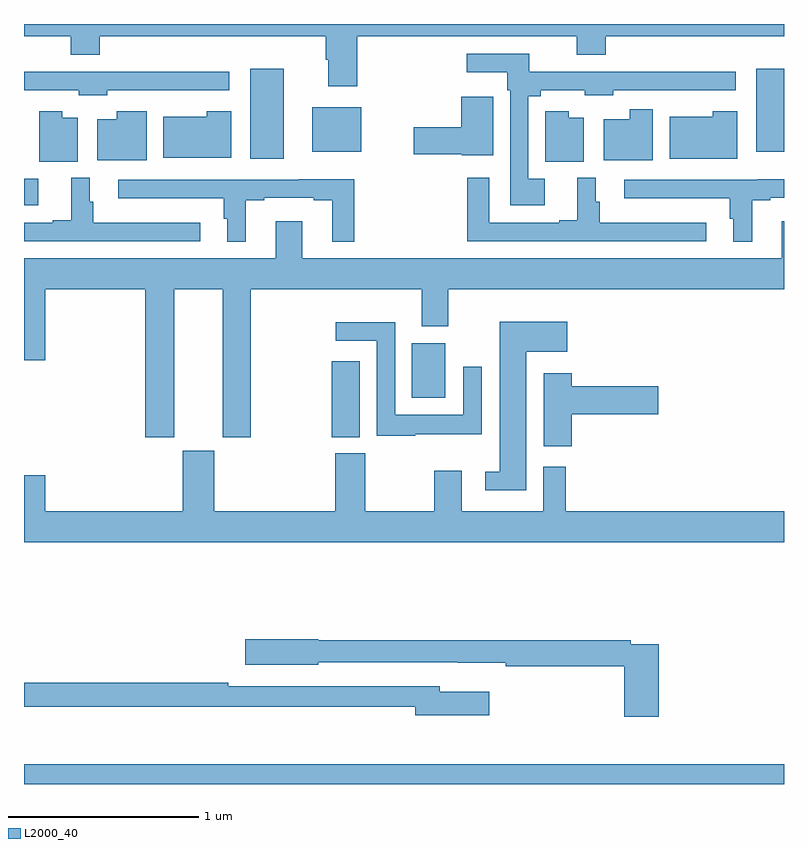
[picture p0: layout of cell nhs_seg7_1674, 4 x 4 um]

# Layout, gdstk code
import gdstk
lib = gdstk.Library(unit=1e-6, precision=1e-09)
def R(c, l, rs):  # rectangles x0, y0, x1, y1
    for r in rs: c.add(gdstk.rectangle(r[:2], r[2:], *l))
def P(c, l, *ps):  # polygons
    for p in ps: c.add(gdstk.Polygon(p, *l))
L2000_40 = (2000, 40)

nhs_seg7_1674 = lib.new_cell('nhs_seg7_1674')
R(nhs_seg7_1674, L2000_40, [(225,1010,229,1010.104), (226.621,1011.826,226.768,1012.225), (227.042,1012.034,227.218,1012.321), (225,1013.045,225.076,1013.185), (226.19,1013.291,226.366,1013.764), (226.517,1013.327,226.774,1013.563), (228.854,1013.327,229,1013.764)])
P(nhs_seg7_1674, L2000_40, [(225,1013.936),(225.245,1013.936),(225.245,1013.837),(225.398,1013.837),(225.398,1013.936),(226.589,1013.936),(226.589,1013.813),(226.601,1013.813),(226.601,1013.673),(226.754,1013.673),(226.754,1013.936),(227.909,1013.936),(227.909,1013.837),(228.062,1013.837),(228.062,1013.936),(229,1013.936),(229,1014),(225,1014)],
  [(227.74,1013.185),(227.655,1013.185),(227.655,1013.62),(227.721,1013.62),(227.721,1013.652),(227.952,1013.652),(227.952,1013.624),(228.102,1013.624),(228.102,1013.652),(228.406,1013.652),(228.406,1013.651),(228.745,1013.651),(228.745,1013.75),(227.658,1013.75),(227.658,1013.844),(227.331,1013.844),(227.331,1013.747),(227.543,1013.747),(227.543,1013.651),(227.559,1013.651),(227.559,1013.045),(227.74,1013.045)],
  [(225.438,1013.652),(225.742,1013.652),(225.742,1013.651),(226.081,1013.651),(226.081,1013.75),(225,1013.75),(225,1013.652),(225.288,1013.652),(225.288,1013.624),(225.438,1013.624)],
  [(227.47,1013.513),(227.469,1013.513),(227.469,1013.616),(227.3,1013.616),(227.3,1013.457),(227.052,1013.457),(227.052,1013.315),(227.304,1013.315),(227.304,1013.309),(227.47,1013.309)],
  [(228.31,1013.551),(228.188,1013.551),(228.188,1013.5),(228.05,1013.5),(228.05,1013.282),(228.31,1013.282)],
  [(227.947,1013.506),(227.866,1013.506),(227.866,1013.542),(227.744,1013.542),(227.744,1013.276),(227.947,1013.276)],
  [(226.09,1013.542),(225.961,1013.542),(225.961,1013.512),(225.734,1013.512),(225.734,1013.297),(226.09,1013.297)],
  [(225.646,1013.542),(225.489,1013.542),(225.489,1013.5),(225.386,1013.5),(225.386,1013.282),(225.646,1013.282)],
  [(228.754,1013.542),(228.625,1013.542),(228.625,1013.512),(228.398,1013.512),(228.398,1013.291),(228.754,1013.291)],
  [(225.283,1013.506),(225.202,1013.506),(225.202,1013.542),(225.08,1013.542),(225.08,1013.276),(225.283,1013.276)],
  [(228.592,1012.954),(228.029,1012.954),(228.029,1013.064),(228.01,1013.064),(228.01,1013.191),(227.912,1013.191),(227.912,1012.966),(227.816,1012.966),(227.816,1012.953),(227.448,1012.953),(227.448,1013.191),(227.332,1013.191),(227.332,1012.857),(228.592,1012.857)],
  [(225.928,1012.954),(225.365,1012.954),(225.365,1013.064),(225.346,1013.064),(225.346,1013.191),(225.248,1013.191),(225.248,1012.966),(225.152,1012.966),(225.152,1012.953),(225,1012.953),(225,1012.857),(225.928,1012.857)],
  [(228.832,1013.073),(228.928,1013.073),(228.928,1013.085),(229,1013.085),(229,1013.182),(228.858,1013.182),(228.858,1013.181),(228.159,1013.181),(228.159,1013.084),(228.715,1013.084),(228.715,1012.974),(228.734,1012.974),(228.734,1012.853),(228.832,1012.853)],
  [(226.168,1013.073),(226.264,1013.073),(226.264,1013.085),(226.526,1013.085),(226.526,1013.073),(226.622,1013.073),(226.622,1012.853),(226.739,1012.853),(226.739,1013.182),(226.447,1013.182),(226.447,1013.181),(225.495,1013.181),(225.495,1013.084),(226.051,1013.084),(226.051,1012.974),(226.07,1012.974),(226.07,1012.853),(226.168,1012.853)],
  [(225.79,1012.604),(226.046,1012.604),(226.046,1011.825),(226.194,1011.825),(226.194,1012.604),(227.093,1012.604),(227.093,1012.41),(227.233,1012.41),(227.233,1012.604),(229,1012.604),(229,1012.963),(228.989,1012.963),(228.989,1012.768),(226.465,1012.768),(226.465,1012.963),(226.325,1012.963),(226.325,1012.768),(225,1012.768),(225,1012.23),(225.112,1012.23),(225.112,1012.604),(225.638,1012.604),(225.638,1011.825),(225.79,1011.825)],
  [(227.644,1012.274),(227.86,1012.274),(227.86,1012.432),(227.504,1012.432),(227.504,1011.644),(227.427,1011.644),(227.427,1011.546),(227.644,1011.546)],
  [(227.06,1011.842),(227.409,1011.842),(227.409,1012.195),(227.313,1012.195),(227.313,1011.943),(226.953,1011.943),(226.953,1012.429),(226.641,1012.429),(226.641,1012.332),(226.857,1012.332),(226.857,1011.832),(227.06,1011.832)],
  [(227.882,1011.947),(228.337,1011.947),(228.337,1012.094),(227.882,1012.094),(227.882,1012.162),(227.735,1012.162),(227.735,1011.777),(227.882,1011.777)],
  [(229,1011.436),(227.851,1011.436),(227.851,1011.67),(227.732,1011.67),(227.732,1011.436),(227.305,1011.436),(227.305,1011.649),(227.158,1011.649),(227.158,1011.436),(226.797,1011.436),(226.797,1011.741),(226.637,1011.741),(226.637,1011.436),(226,1011.436),(226,1011.753),(225.836,1011.753),(225.836,1011.436),(225.112,1011.436),(225.112,1011.625),(225,1011.625),(225,1011.272),(229,1011.272)],
  [(228.341,1010.736),(228.194,1010.736),(228.194,1010.756),(226.548,1010.756),(226.548,1010.762),(226.164,1010.762),(226.164,1010.627),(226.548,1010.627),(226.548,1010.64),(227.284,1010.64),(227.284,1010.639),(227.536,1010.639),(227.536,1010.62),(228.158,1010.62),(228.158,1010.355),(228.341,1010.355)],
  [(227.449,1010.485),(227.188,1010.485),(227.188,1010.514),(226.076,1010.514),(226.076,1010.534),(225,1010.534),(225,1010.406),(227.06,1010.406),(227.06,1010.363),(227.449,1010.363)])

lib.write_gds('nhs_seg7_1674.gds')
